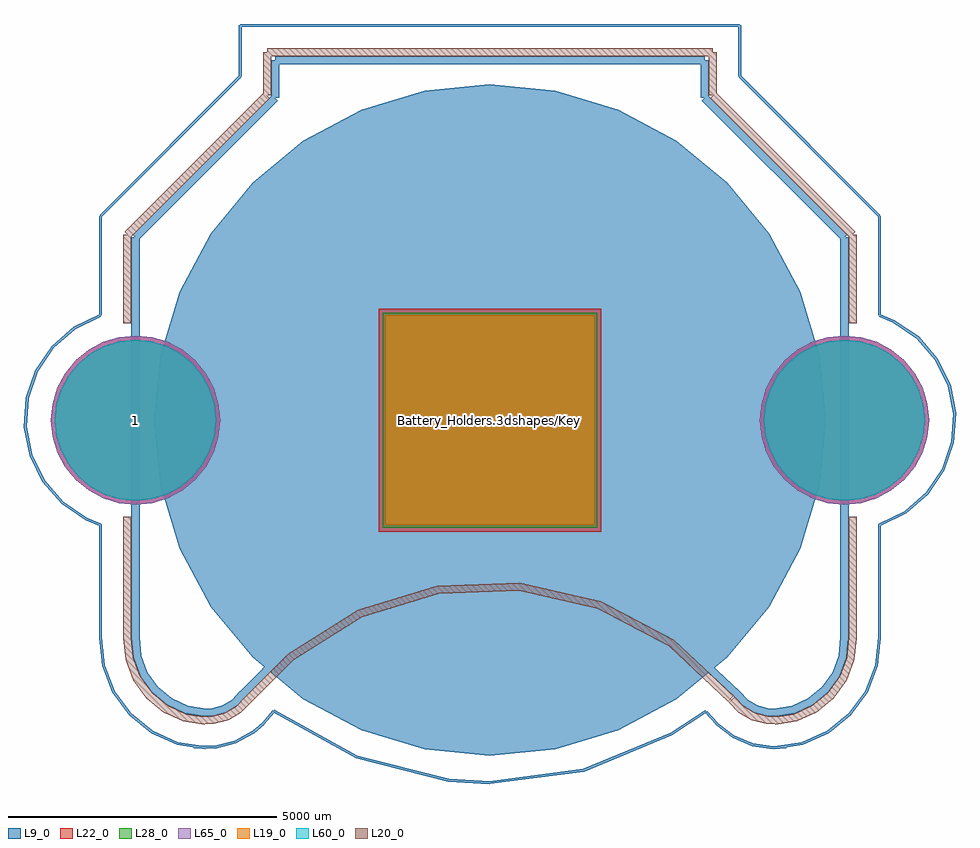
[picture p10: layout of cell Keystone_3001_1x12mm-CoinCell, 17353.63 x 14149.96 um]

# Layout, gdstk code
import gdstk
lib = gdstk.Library(unit=1e-6, precision=1e-09)
def R(c, l, rs):  # rectangles x0, y0, x1, y1
    for r in rs: c.add(gdstk.rectangle(r[:2], r[2:], *l))
def P(c, l, *ps):  # polygons
    for p in ps: c.add(gdstk.Polygon(p, *l))
L9_0 = (9, 0)
L19_0 = (19, 0)
L20_0 = (20, 0)
L22_0 = (22, 0)
L28_0 = (28, 0)
L60_0 = (60, 0)
L65_0 = (65, 0)

keystone_3001_1x12mm_coi = lib.new_cell('Keystone_3001_1x12mm-CoinCell')
P(keystone_3001_1x12mm_coi, L9_0, [(6250,0),(6129.908,1219.315),(5774.247,2391.771),(5196.685,3472.314),(4419.417,4419.417),(3472.314,5196.685),(2391.771,5774.247),(1219.315,6129.908),(0,6250),(-1219.315,6129.908),(-2391.771,5774.247),(-3472.314,5196.685),(-4419.417,4419.417),(-5196.685,3472.314),(-5774.247,2391.771),(-6129.908,1219.315),(-6250,0),(-6129.908,-1219.315),(-5774.247,-2391.771),(-5196.685,-3472.314),(-4419.417,-4419.417),(-3472.314,-5196.685),(-2391.771,-5774.247),(-1219.315,-6129.908),(0,-6250),(1219.315,-6129.908),(2391.771,-5774.247),(3472.314,-5196.685),(4419.417,-4419.417),(5196.685,-3472.314),(5774.247,-2391.771),(6129.908,-1219.315)])
R(keystone_3001_1x12mm_coi, L19_0, [(-1950,-1950,1950,1950)])
R(keystone_3001_1x12mm_coi, L22_0, [(-2075,-2075,2075,2075)])
P(keystone_3001_1x12mm_coi, L22_0, [(8175,0),(8144.737,307.267),(8055.11,602.726),(7909.565,875.023),(7713.693,1113.693),(7475.023,1309.565),(7202.726,1455.11),(6907.267,1544.737),(6600,1575),(6292.733,1544.737),(5997.274,1455.11),(5724.977,1309.565),(5486.307,1113.693),(5290.435,875.023),(5144.89,602.726),(5055.263,307.267),(5025,0),(5055.263,-307.267),(5144.89,-602.726),(5290.435,-875.023),(5486.307,-1113.693),(5724.977,-1309.565),(5997.274,-1455.11),(6292.733,-1544.737),(6600,-1575),(6907.267,-1544.737),(7202.726,-1455.11),(7475.023,-1309.565),(7713.693,-1113.693),(7909.565,-875.023),(8055.11,-602.726),(8144.737,-307.267)],
  [(-5025,0),(-5055.263,307.267),(-5144.89,602.726),(-5290.435,875.023),(-5486.307,1113.693),(-5724.977,1309.565),(-5997.274,1455.11),(-6292.733,1544.737),(-6600,1575),(-6907.267,1544.737),(-7202.726,1455.11),(-7475.023,1309.565),(-7713.693,1113.693),(-7909.565,875.023),(-8055.11,602.726),(-8144.737,307.267),(-8175,0),(-8144.737,-307.267),(-8055.11,-602.726),(-7909.565,-875.023),(-7713.693,-1113.693),(-7475.023,-1309.565),(-7202.726,-1455.11),(-6907.267,-1544.737),(-6600,-1575),(-6292.733,-1544.737),(-5997.274,-1455.11),(-5724.977,-1309.565),(-5486.307,-1113.693),(-5290.435,-875.023),(-5144.89,-602.726),(-5055.263,-307.267)])
R(keystone_3001_1x12mm_coi, L28_0, [(-2000,-2000,2000,2000)])
P(keystone_3001_1x12mm_coi, L28_0, [(8100,0),(8071.178,292.635),(7985.819,574.025),(7847.204,833.355),(7660.66,1060.66),(7433.355,1247.204),(7174.025,1385.819),(6892.635,1471.178),(6600,1500),(6307.365,1471.178),(6025.975,1385.819),(5766.645,1247.204),(5539.34,1060.66),(5352.796,833.355),(5214.181,574.025),(5128.822,292.635),(5100,0),(5128.822,-292.635),(5214.181,-574.025),(5352.796,-833.355),(5539.34,-1060.66),(5766.645,-1247.204),(6025.975,-1385.819),(6307.365,-1471.178),(6600,-1500),(6892.635,-1471.178),(7174.025,-1385.819),(7433.355,-1247.204),(7660.66,-1060.66),(7847.204,-833.355),(7985.819,-574.025),(8071.178,-292.635)],
  [(-5100,0),(-5128.822,292.635),(-5214.181,574.025),(-5352.796,833.355),(-5539.34,1060.66),(-5766.645,1247.204),(-6025.975,1385.819),(-6307.365,1471.178),(-6600,1500),(-6892.635,1471.178),(-7174.025,1385.819),(-7433.355,1247.204),(-7660.66,1060.66),(-7847.204,833.355),(-7985.819,574.025),(-8071.178,292.635),(-8100,0),(-8071.178,-292.635),(-7985.819,-574.025),(-7847.204,-833.355),(-7660.66,-1060.66),(-7433.355,-1247.204),(-7174.025,-1385.819),(-6892.635,-1471.178),(-6600,-1500),(-6307.365,-1471.178),(-6025.975,-1385.819),(-5766.645,-1247.204),(-5539.34,-1060.66),(-5352.796,-833.355),(-5214.181,-574.025),(-5128.822,-292.635)])
P(keystone_3001_1x12mm_coi, L60_0, [(8100,0),(8071.178,292.635),(7985.819,574.025),(7847.204,833.355),(7660.66,1060.66),(7433.355,1247.204),(7174.025,1385.819),(6892.635,1471.178),(6600,1500),(6307.365,1471.178),(6025.975,1385.819),(5766.645,1247.204),(5539.34,1060.66),(5352.796,833.355),(5214.181,574.025),(5128.822,292.635),(5100,0),(5128.822,-292.635),(5214.181,-574.025),(5352.796,-833.355),(5539.34,-1060.66),(5766.645,-1247.204),(6025.975,-1385.819),(6307.365,-1471.178),(6600,-1500),(6892.635,-1471.178),(7174.025,-1385.819),(7433.355,-1247.204),(7660.66,-1060.66),(7847.204,-833.355),(7985.819,-574.025),(8071.178,-292.635)],
  [(-5100,0),(-5128.822,292.635),(-5214.181,574.025),(-5352.796,833.355),(-5539.34,1060.66),(-5766.645,1247.204),(-6025.975,1385.819),(-6307.365,1471.178),(-6600,1500),(-6892.635,1471.178),(-7174.025,1385.819),(-7433.355,1247.204),(-7660.66,1060.66),(-7847.204,833.355),(-7985.819,574.025),(-8071.178,292.635),(-8100,0),(-8071.178,-292.635),(-7985.819,-574.025),(-7847.204,-833.355),(-7660.66,-1060.66),(-7433.355,-1247.204),(-7174.025,-1385.819),(-6892.635,-1471.178),(-6600,-1500),(-6307.365,-1471.178),(-6025.975,-1385.819),(-5766.645,-1247.204),(-5539.34,-1060.66),(-5352.796,-833.355),(-5214.181,-574.025),(-5128.822,-292.635)])
P(keystone_3001_1x12mm_coi, L65_0, [(8175,0),(8144.737,307.267),(8055.11,602.726),(7909.565,875.023),(7713.693,1113.693),(7475.023,1309.565),(7202.726,1455.11),(6907.267,1544.737),(6600,1575),(6292.733,1544.737),(5997.274,1455.11),(5724.977,1309.565),(5486.307,1113.693),(5290.435,875.023),(5144.89,602.726),(5055.263,307.267),(5025,0),(5055.263,-307.267),(5144.89,-602.726),(5290.435,-875.023),(5486.307,-1113.693),(5724.977,-1309.565),(5997.274,-1455.11),(6292.733,-1544.737),(6600,-1575),(6907.267,-1544.737),(7202.726,-1455.11),(7475.023,-1309.565),(7713.693,-1113.693),(7909.565,-875.023),(8055.11,-602.726),(8144.737,-307.267)],
  [(-5025,0),(-5055.263,307.267),(-5144.89,602.726),(-5290.435,875.023),(-5486.307,1113.693),(-5724.977,1309.565),(-5997.274,1455.11),(-6292.733,1544.737),(-6600,1575),(-6907.267,1544.737),(-7202.726,1455.11),(-7475.023,1309.565),(-7713.693,1113.693),(-7909.565,875.023),(-8055.11,602.726),(-8144.737,307.267),(-8175,0),(-8144.737,-307.267),(-8055.11,-602.726),(-7909.565,-875.023),(-7713.693,-1113.693),(-7475.023,-1309.565),(-7202.726,-1455.11),(-6907.267,-1544.737),(-6600,-1575),(-6292.733,-1544.737),(-5997.274,-1455.11),(-5724.977,-1309.565),(-5486.307,-1113.693),(-5290.435,-875.023),(-5144.89,-602.726),(-5055.263,-307.267)])
keystone_3001_1x12mm_coi.add(gdstk.FlexPath([(-4000,6700),(4000,6700)], 149.998, ends="flush", simple_path=True, layer=9, datatype=0))  # L9_0
keystone_3001_1x12mm_coi.add(gdstk.FlexPath([(-4000,6700),(-4000,6000)], 149.998, ends="flush", simple_path=True, layer=9, datatype=0))  # L9_0
keystone_3001_1x12mm_coi.add(gdstk.FlexPath([(4000,6700),(4000,6000)], 149.998, ends="flush", simple_path=True, layer=9, datatype=0))  # L9_0
keystone_3001_1x12mm_coi.add(gdstk.FlexPath([(-4000,6000),(-6600,3400)], 149.998, ends="flush", simple_path=True, layer=9, datatype=0))  # L9_0
keystone_3001_1x12mm_coi.add(gdstk.FlexPath([(4000,6000),(6600,3400)], 149.998, ends="flush", simple_path=True, layer=9, datatype=0))  # L9_0
keystone_3001_1x12mm_coi.add(gdstk.FlexPath([(-6600,3400),(-6600,-4100)], 149.998, ends="flush", simple_path=True, layer=9, datatype=0))  # L9_0
keystone_3001_1x12mm_coi.add(gdstk.FlexPath([(6600,3400),(6600,-4100)], 149.998, ends="flush", simple_path=True, layer=9, datatype=0))  # L9_0
keystone_3001_1x12mm_coi.add(gdstk.FlexPath([(-6600,-4050.001),(-6566.941,-4401.11),(-6444.134,-4731.7),(-6239.949,-5019.24),(-5968.3,-5244.135),(-5647.701,-5391.059),(-5300,-5450)], 149.998, ends="flush", simple_path=True, layer=9, datatype=0))  # L9_0
keystone_3001_1x12mm_coi.add(gdstk.FlexPath([(6750,3450),(6750,1800)], 149.998, ends="flush", simple_path=True, layer=20, datatype=0))  # L20_0
keystone_3001_1x12mm_coi.add(gdstk.FlexPath([(4150,6050),(6750,3450)], 149.998, ends="flush", simple_path=True, layer=20, datatype=0))  # L20_0
keystone_3001_1x12mm_coi.add(gdstk.FlexPath([(4150,6850),(4150,6050)], 149.998, ends="flush", simple_path=True, layer=20, datatype=0))  # L20_0
keystone_3001_1x12mm_coi.add(gdstk.FlexPath([(-4150,6850),(4150,6850)], 149.998, ends="flush", simple_path=True, layer=20, datatype=0))  # L20_0
keystone_3001_1x12mm_coi.add(gdstk.FlexPath([(-4150,6050),(-4150,6850)], 149.998, ends="flush", simple_path=True, layer=20, datatype=0))  # L20_0
keystone_3001_1x12mm_coi.add(gdstk.FlexPath([(-6750,3450),(-4150,6050)], 149.998, ends="flush", simple_path=True, layer=20, datatype=0))  # L20_0
keystone_3001_1x12mm_coi.add(gdstk.FlexPath([(-6750,1800),(-6750,3450)], 149.998, ends="flush", simple_path=True, layer=20, datatype=0))  # L20_0
keystone_3001_1x12mm_coi.add(gdstk.FlexPath([(-7250,1950),(-7250,3800)], 50, ends="flush", simple_path=True, layer=9, datatype=0))  # L9_0
keystone_3001_1x12mm_coi.add(gdstk.FlexPath([(-7250,3800),(-4650,6400)], 50, ends="flush", simple_path=True, layer=9, datatype=0))  # L9_0
keystone_3001_1x12mm_coi.add(gdstk.FlexPath([(-4650,6400),(-4650,7350)], 50, ends="flush", simple_path=True, layer=9, datatype=0))  # L9_0
keystone_3001_1x12mm_coi.add(gdstk.FlexPath([(-4650,7350),(4650,7350)], 50, ends="flush", simple_path=True, layer=9, datatype=0))  # L9_0
keystone_3001_1x12mm_coi.add(gdstk.FlexPath([(4650,6400),(4650,7350)], 50, ends="flush", simple_path=True, layer=9, datatype=0))  # L9_0
keystone_3001_1x12mm_coi.add(gdstk.FlexPath([(7250,3800),(4650,6400)], 50, ends="flush", simple_path=True, layer=9, datatype=0))  # L9_0
keystone_3001_1x12mm_coi.add(gdstk.FlexPath([(7250,1950),(7250,3800)], 50, ends="flush", simple_path=True, layer=9, datatype=0))  # L9_0
keystone_3001_1x12mm_coi.add(gdstk.FlexPath([(5300,-5450),(5647.702,-5391.059),(5968.301,-5244.134),(6239.949,-5019.239),(6444.134,-4731.699),(6566.941,-4401.109),(6600,-4050.001)], 149.998, ends="flush", simple_path=True, layer=9, datatype=0))  # L9_0
keystone_3001_1x12mm_coi.add(gdstk.FlexPath([(-6750,-1800),(-6750,-4100)], 149.998, ends="flush", simple_path=True, layer=20, datatype=0))  # L20_0
keystone_3001_1x12mm_coi.add(gdstk.FlexPath([(6750,-1800),(6750,-4100)], 149.998, ends="flush", simple_path=True, layer=20, datatype=0))  # L20_0
keystone_3001_1x12mm_coi.add(gdstk.FlexPath([(7250,-1950),(7250,-4100)], 50, ends="flush", simple_path=True, layer=9, datatype=0))  # L9_0
keystone_3001_1x12mm_coi.add(gdstk.FlexPath([(-7250,-1950),(-7250,-4100)], 50, ends="flush", simple_path=True, layer=9, datatype=0))  # L9_0
keystone_3001_1x12mm_coi.add(gdstk.FlexPath([(-7250,-4050.001),(-7194.792,-4569.343),(-7007.05,-5056.7),(-6699.568,-5478.859),(-6293.3,-5807.051),(-5815.933,-6018.911),(-5300,-6100)], 50, ends="flush", simple_path=True, layer=9, datatype=0))  # L9_0
keystone_3001_1x12mm_coi.add(gdstk.FlexPath([(-6750,-4050.001),(-6711.829,-4439.933),(-6574.038,-4806.7),(-6346.015,-5125.306),(-6043.3,-5374.039),(-5686.524,-5535.948),(-5300,-5600)], 149.998, ends="flush", simple_path=True, layer=20, datatype=0))  # L20_0
keystone_3001_1x12mm_coi.add(gdstk.FlexPath([(5300,-5600),(5686.525,-5535.948),(6043.301,-5374.038),(6346.015,-5125.305),(6574.038,-4806.699),(6711.83,-4439.932),(6750,-4050.001)], 149.998, ends="flush", simple_path=True, layer=20, datatype=0))  # L20_0
keystone_3001_1x12mm_coi.add(gdstk.FlexPath([(4607.904,-5109.59),(3469.863,-4046.132),(2095.357,-3313.456),(578.056,-2961.495),(-978.639,-3014.232),(-2468.642,-3468.076),(-3790.411,-4292.095),(-4600,-5100)], 149.998, ends="flush", simple_path=True, layer=9, datatype=0))  # L9_0
keystone_3001_1x12mm_coi.add(gdstk.FlexPath([(-5378.012,-5447.557),(-5155.649,-5441.457),(-4942.442,-5378.012),(-4752.92,-5261.548),(-4600,-5100)], 149.998, ends="flush", simple_path=True, layer=9, datatype=0))  # L9_0
keystone_3001_1x12mm_coi.add(gdstk.FlexPath([(4600,-5100),(4752.921,-5261.548),(4942.443,-5378.012),(5155.65,-5441.457),(5378.012,-5447.557)], 149.998, ends="flush", simple_path=True, layer=9, datatype=0))  # L9_0
keystone_3001_1x12mm_coi.add(gdstk.FlexPath([(4490.661,-5188.671),(3377.083,-4152.863),(2033.362,-3440.564),(551.071,-3100.317),(-968.775,-3155.309),(-2422.6,-3601.792),(-3711.329,-4409.339),(-4500,-5200)], 149.998, ends="flush", simple_path=True, layer=20, datatype=0))  # L20_0
keystone_3001_1x12mm_coi.add(gdstk.FlexPath([(-5414.615,-5584.16),(-5155.649,-5582.878),(-4905.84,-5514.615),(-4682.21,-5384.022),(-4500,-5200)], 149.998, ends="flush", simple_path=True, layer=20, datatype=0))  # L20_0
keystone_3001_1x12mm_coi.add(gdstk.FlexPath([(4500,-5200),(4682.21,-5384.023),(4905.84,-5514.615),(5155.65,-5582.878),(5414.615,-5584.16)], 149.998, ends="flush", simple_path=True, layer=20, datatype=0))  # L20_0
keystone_3001_1x12mm_coi.add(gdstk.FlexPath([(-7254.426,1948.519),(-7736.441,1712.747),(-8141.009,1360.254),(-8440.56,915.062),(-8614.68,407.51),(-8651.503,-127.813),(-8548.519,-654.426),(-8312.747,-1136.441),(-7960.254,-1541.009),(-7515.062,-1840.56),(-7250,-1950)], 50, ends="flush", simple_path=True, layer=9, datatype=0))  # L9_0
keystone_3001_1x12mm_coi.add(gdstk.FlexPath([(7250,-1950),(7732.549,-1715.323),(8137.917,-1363.75),(8438.478,-919.239),(8613.75,-412.083),(8651.788,123.155),(8550,650),(8315.323,1132.549),(7963.749,1537.916),(7519.239,1838.478),(7254.426,1948.519)], 50, ends="flush", simple_path=True, layer=9, datatype=0))  # L9_0
keystone_3001_1x12mm_coi.add(gdstk.FlexPath([(-5513.125,-6082.435),(-5121.84,-6089.671),(-4742.014,-5995.389),(-4399.533,-5806.013),(-4220,-5650)], 50, ends="flush", simple_path=True, layer=9, datatype=0))  # L9_0
keystone_3001_1x12mm_coi.add(gdstk.FlexPath([(4220,-5650),(4528.219,-5891.158),(4888.353,-6044.326),(5275.858,-6099.066),(5513.125,-6082.435)], 50, ends="flush", simple_path=True, layer=9, datatype=0))  # L9_0
keystone_3001_1x12mm_coi.add(gdstk.FlexPath([(5300,-6100),(5815.934,-6018.911),(6293.301,-5807.051),(6699.569,-5478.858),(7007.051,-5056.699),(7194.793,-4569.342),(7250,-4050.001)], 50, ends="flush", simple_path=True, layer=9, datatype=0))  # L9_0
keystone_3001_1x12mm_coi.add(gdstk.FlexPath([(0,-6750),(1747.028,-6519.999),(3374.999,-5845.671),(4024.517,-5419.017)], 50, ends="flush", simple_path=True, layer=9, datatype=0))  # L9_0
keystone_3001_1x12mm_coi.add(gdstk.FlexPath([(-4024.387,-5420.961),(-4220,-5650)], 50, ends="flush", simple_path=True, layer=9, datatype=0))  # L9_0
keystone_3001_1x12mm_coi.add(gdstk.FlexPath([(4220,-5650),(4024.709,-5432.858)], 50, ends="flush", simple_path=True, layer=9, datatype=0))  # L9_0
keystone_3001_1x12mm_coi.add(gdstk.FlexPath([(-4024.517,-5419.017),(-2484.84,-6275.991),(-775.826,-6705.266),(0,-6750)], 50, ends="flush", simple_path=True, layer=9, datatype=0))  # L9_0
keystone_3001_1x12mm_coi.add(gdstk.Label('Battery_Holders.3dshapes/Keystone_3001_1x12mm-CoinCell.wrl', (0,0), layer=12, texttype=0))
keystone_3001_1x12mm_coi.add(gdstk.Label('2', (0,0), layer=28, texttype=0))
keystone_3001_1x12mm_coi.add(gdstk.Label('1', (-6600,0), layer=28, texttype=0))
keystone_3001_1x12mm_coi.add(gdstk.Label('type', (0,-7500), layer=9, texttype=0))
keystone_3001_1x12mm_coi.add(gdstk.Label('devicename', (0,8000), layer=9, texttype=0))

lib.write_gds('Keystone_3001_1x12mm-CoinCell.gds')
